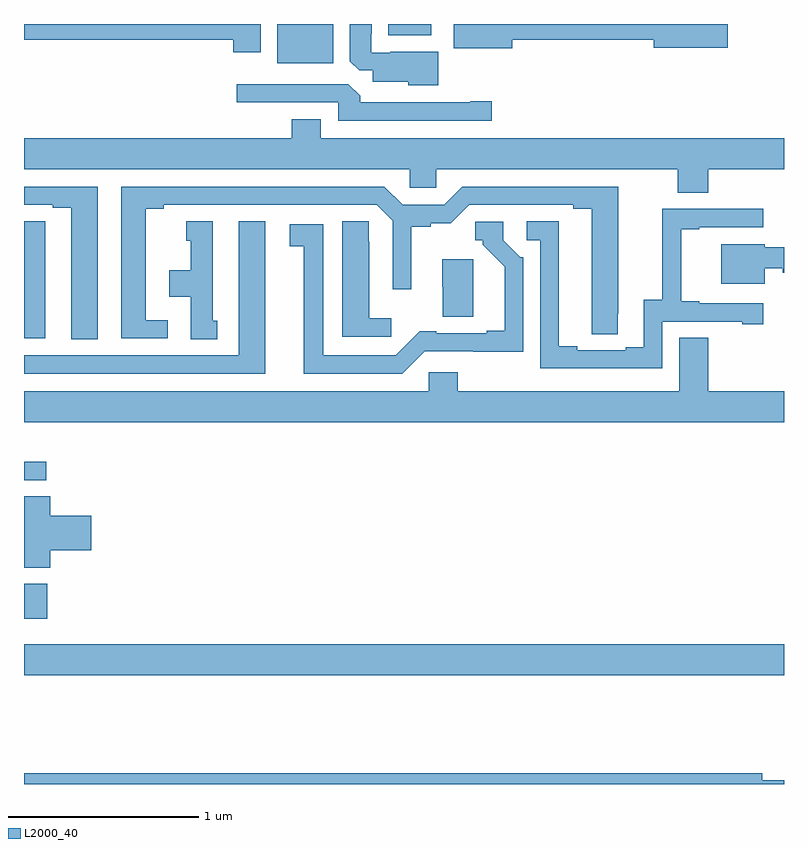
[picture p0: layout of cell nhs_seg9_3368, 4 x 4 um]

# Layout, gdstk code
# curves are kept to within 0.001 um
import gdstk
lib = gdstk.Library(unit=1e-6, precision=1e-09)
def R(c, l, rs):  # rectangles x0, y0, x1, y1
    for r in rs: c.add(gdstk.rectangle(r[:2], r[2:], *l))
def P(c, l, *ps):  # polygons
    for p in ps: c.add(gdstk.Polygon(p, *l))
L2000_40 = (2000, 40)

nhs_seg9_3368 = lib.new_cell('nhs_seg9_3368')
R(nhs_seg9_3368, L2000_40, [(303,1211.072,307,1211.236), (303,1211.37,303.122,1211.553), (303,1212.099,303.118,1212.195), (304.334,1214.294,304.627,1214.5), (304.916,1214.441,305.143,1214.5)])
P(nhs_seg9_3368, L2000_40, [(305.569,1214.416),(306.314,1214.416),(306.314,1214.374),(306.703,1214.374),(306.703,1214.5),(305.262,1214.5),(305.262,1214.372),(305.569,1214.372)],
  [(304.246,1214.5),(303,1214.5),(303,1214.416),(304.1,1214.416),(304.1,1214.352),(304.246,1214.352)],
  [(305.179,1214.353),(304.927,1214.353),(304.927,1214.349),(304.827,1214.349),(304.827,1214.449),(304.831,1214.449),(304.831,1214.5),(304.715,1214.5),(304.715,1214.305),(304.764,1214.256),(304.835,1214.256),(304.835,1214.195),(305.022,1214.195),(305.022,1214.177),(305.179,1214.177)],
  [(305.461,1214.093),(305.348,1214.093),(305.348,1214.088),(304.769,1214.088),(304.769,1214.122),(304.707,1214.184),(304.119,1214.184),(304.119,1214.088),(304.653,1214.088),(304.653,1213.992),(305.461,1213.992)],
  [(304.561,1213.999),(304.409,1213.999),(304.409,1213.9),(303,1213.9),(303,1213.736),(305.031,1213.736),(305.031,1213.638),(305.169,1213.638),(305.169,1213.736),(306.442,1213.736),(306.442,1213.612),(306.602,1213.612),(306.602,1213.736),(307,1213.736),(307,1213.9),(304.561,1213.9)],
  [(303.388,1213.644),(303,1213.644),(303,1213.548),(303.152,1213.548),(303.152,1213.533),(303.248,1213.533),(303.248,1212.841),(303.388,1212.841)],
  [(303.757,1212.942),(303.64,1212.942),(303.64,1213.528),(303.736,1213.528),(303.736,1213.548),(304.857,1213.548),(304.941,1213.464),(304.941,1213.104),(305.038,1213.104),(305.038,1213.432),(305.142,1213.432),(305.142,1213.451),(305.246,1213.451),(305.343,1213.548),(305.891,1213.548),(305.891,1213.528),(305.987,1213.528),(305.987,1212.868),(306.126,1212.868),(306.127,1213.644),(305.307,1213.644),(305.211,1213.548),(304.993,1213.548),(304.897,1213.644),(303.512,1213.644),(303.512,1212.846),(303.757,1212.846)],
  [(306.36,1212.933),(306.779,1212.933),(306.779,1212.921),(306.892,1212.921),(306.892,1213.029),(306.553,1213.029),(306.553,1213.042),(306.458,1213.042),(306.458,1213.419),(306.553,1213.419),(306.553,1213.431),(306.892,1213.431),(306.892,1213.527),(306.358,1213.527),(306.358,1213.049),(306.263,1213.049),(306.263,1212.798),(306.167,1212.798),(306.167,1212.783),(305.911,1212.783),(305.911,1212.803),(305.815,1212.803),(305.815,1213.463),(305.646,1213.463),(305.646,1213.362),(305.718,1213.362),(305.718,1212.687),(306.36,1212.687)],
  [(303.112,1213.355),(303.111,1213.355),(303.111,1213.463),(303,1213.463),(303,1212.845),(303.112,1212.845)],
  [(304.933,1212.952),(304.816,1212.952),(304.816,1213.355),(304.815,1213.355),(304.815,1213.463),(304.676,1213.463),(304.676,1212.855),(304.933,1212.855)],
  [(304.27,1213.462),(304.13,1213.462),(304.13,1212.756),(303,1212.756),(303,1212.66),(304.27,1212.66)],
  [(304.018,1212.939),(303.994,1212.939),(303.994,1213.462),(303.854,1213.462),(303.854,1213.359),(303.878,1213.359),(303.878,1213.204),(303.764,1213.204),(303.764,1213.064),(303.878,1213.064),(303.878,1212.841),(304.018,1212.841)],
  [(305.109,1212.777),(305.628,1212.776),(305.628,1213.272),(305.613,1213.272),(305.523,1213.362),(305.523,1213.458),(305.376,1213.458),(305.376,1213.362),(305.415,1213.362),(305.415,1213.339),(305.531,1213.222),(305.531,1212.886),(305.435,1212.886),(305.435,1212.873),(305.17,1212.873),(305.17,1212.884),(305.084,1212.884),(304.956,1212.756),(304.576,1212.756),(304.576,1213.446),(304.398,1213.446),(304.398,1213.33),(304.472,1213.33),(304.472,1212.66),(304.992,1212.66)],
  [(306.898,1213.214),(306.994,1213.214),(306.994,1213.19),(307,1213.19),(307,1213.324),(306.898,1213.324),(306.898,1213.342),(306.671,1213.342),(306.671,1213.133),(306.898,1213.133)],
  [(305.365,1213.261),(305.201,1213.261),(305.201,1213.116),(305.203,1213.116),(305.203,1212.958),(305.365,1212.958)],
  [(307,1212.568),(306.602,1212.568),(306.602,1212.848),(306.449,1212.848),(306.449,1212.568),(305.282,1212.568),(305.282,1212.666),(305.13,1212.666),(305.13,1212.568),(303,1212.568),(303,1212.404),(307,1212.404)],
  [(303.137,1211.729),(303.355,1211.729),(303.355,1211.912),(303.137,1211.912),(303.137,1212.014),(303,1212.014),(303,1211.638),(303.137,1211.638)],
  [(307,1210.52),(306.886,1210.52),(306.886,1210.556),(303,1210.556),(303,1210.5),(307,1210.5)])

lib.write_gds('nhs_seg9_3368.gds')
